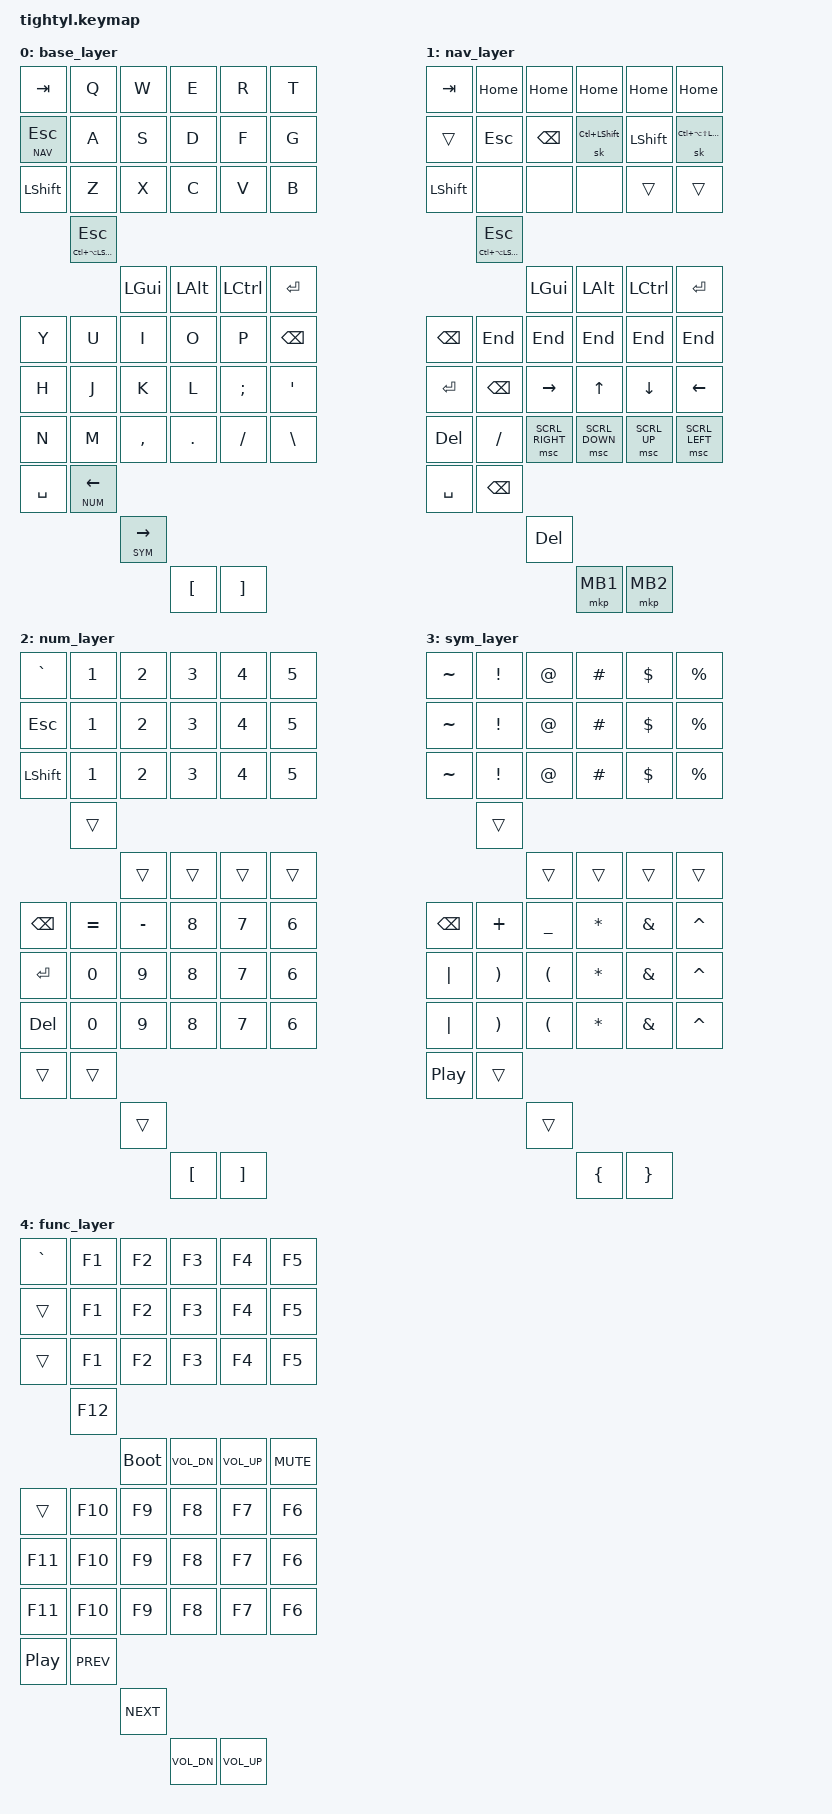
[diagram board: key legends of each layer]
#include <behaviors.dtsi>
#include <dt-bindings/zmk/keys.h>
#include <dt-bindings/zmk/mouse.h>

#define BASE 0
#define NAV  1
#define NUM  2
#define SYM  3
#define FUNC 4

/ {
    keymap {
        compatible = "zmk,keymap";

        /*
         * BASE
         *
         * TAB Q W E R T              Y U I O P BSPC
         * ESC A S D F G              H J K L ; '
         * SHF Z X C V B              N M , . / \
         *     MEH GUI ALT CTL ENT    SPC NUM SYM [ ]
         */
        base_layer {
            bindings = <
                /* LEFT */
                &kp TAB          &kp Q       &kp W       &kp E       &kp R       &kp T
                &lt NAV ESC      &kp A       &kp S       &kp D       &kp F       &kp G
                &kp LSHIFT       &kp Z       &kp X       &kp C       &kp V       &kp B
                                 &mt LC(LA(LSHIFT)) ESC
                                               &kp LGUI    &kp LALT    &kp LCTRL   &kp ENTER

                /* RIGHT */
                &kp Y            &kp U       &kp I       &kp O       &kp P       &kp BSPC
                &kp H            &kp J       &kp K       &kp L       &kp SEMI    &kp SQT
                &kp N            &kp M       &kp COMMA   &kp DOT     &kp FSLH    &kp BSLH
                &kp SPACE        &lt NUM LEFT
                                               &lt SYM RIGHT
                                                           &kp LBKT    &kp RBKT
            >;
        };

        /*
         * NAV / EDITING
         *
         * Now expressed in physical key order.
         */
        nav_layer {
            bindings = <
                /* LEFT */
                &kp TAB          &kp HOME    &kp HOME    &kp HOME    &kp HOME    &kp HOME
                &trans           &kp ESC     &kp BSPC    &sk LC(LSHIFT)
                                                           &kp LSHIFT &sk LC(LA(LS(LGUI)))
                &kp LSHIFT       &none       &none       &none       &trans      &trans
                                 &mt LC(LA(LSHIFT)) ESC
                                               &kp LGUI    &kp LALT    &kp LCTRL   &kp ENTER

                /* RIGHT */
                &kp BSPC         &kp END     &kp END     &kp END     &kp END     &kp END
                &kp ENTER        &kp BSPC    &kp RIGHT   &kp UP      &kp DOWN    &kp LEFT
                &kp DEL          &kp FSLH    &msc SCRL_RIGHT
                                                           &msc SCRL_DOWN
                                                                       &msc SCRL_UP
                                                                                   &msc SCRL_LEFT
                &kp SPACE        &kp BSPC    &kp DEL     &mkp MB1    &mkp MB2
            >;
        };

        /*
         * NUMBERS
         */
        num_layer {
            bindings = <
                /* LEFT */
                &kp GRAVE        &kp N1      &kp N2      &kp N3      &kp N4      &kp N5
                &kp ESC          &kp N1      &kp N2      &kp N3      &kp N4      &kp N5
                &kp LSHIFT       &kp N1      &kp N2      &kp N3      &kp N4      &kp N5
                                 &trans       &trans       &trans       &trans       &trans

                /* RIGHT */
                &kp BSPC         &kp EQUAL   &kp MINUS   &kp N8      &kp N7      &kp N6
                &kp ENTER        &kp N0      &kp N9      &kp N8      &kp N7      &kp N6
                &kp DEL          &kp N0      &kp N9      &kp N8      &kp N7      &kp N6
                &trans           &trans      &trans      &kp LBKT    &kp RBKT
            >;
        };

        /*
         * SYMBOLS
         */
        sym_layer {
            bindings = <
                /* LEFT */
                &kp TILDE        &kp EXCL    &kp AT      &kp HASH    &kp DLLR    &kp PRCNT
                &kp TILDE        &kp EXCL    &kp AT      &kp HASH    &kp DLLR    &kp PRCNT
                &kp TILDE        &kp EXCL    &kp AT      &kp HASH    &kp DLLR    &kp PRCNT
                                 &trans       &trans       &trans       &trans       &trans

                /* RIGHT */
                &kp BSPC         &kp PLUS    &kp UNDER   &kp STAR    &kp AMPS    &kp CARET
                &kp PIPE         &kp RPAR    &kp LPAR    &kp STAR    &kp AMPS    &kp CARET
                &kp PIPE         &kp RPAR    &kp LPAR    &kp STAR    &kp AMPS    &kp CARET
                &kp C_PLAY_PAUSE &trans      &trans      &kp LBRC    &kp RBRC
            >;
        };

        /*
         * FUNCTION / MEDIA / BOOTLOADER
         */
        func_layer {
            bindings = <
                /* LEFT */
                &kp GRAVE        &kp F1      &kp F2      &kp F3      &kp F4      &kp F5
                &trans           &kp F1      &kp F2      &kp F3      &kp F4      &kp F5
                &trans           &kp F1      &kp F2      &kp F3      &kp F4      &kp F5
                                 &kp F12      &bootloader &kp C_VOL_DN
                                                           &kp C_VOL_UP
                                                                       &kp C_MUTE

                /* RIGHT */
                &trans           &kp F10     &kp F9      &kp F8      &kp F7      &kp F6
                &kp F11          &kp F10     &kp F9      &kp F8      &kp F7      &kp F6
                &kp F11          &kp F10     &kp F9      &kp F8      &kp F7      &kp F6
                &kp C_PLAY_PAUSE &kp C_PREV &kp C_NEXT  &kp C_VOL_DN
                                                                       &kp C_VOL_UP
            >;
        };
    };
};
